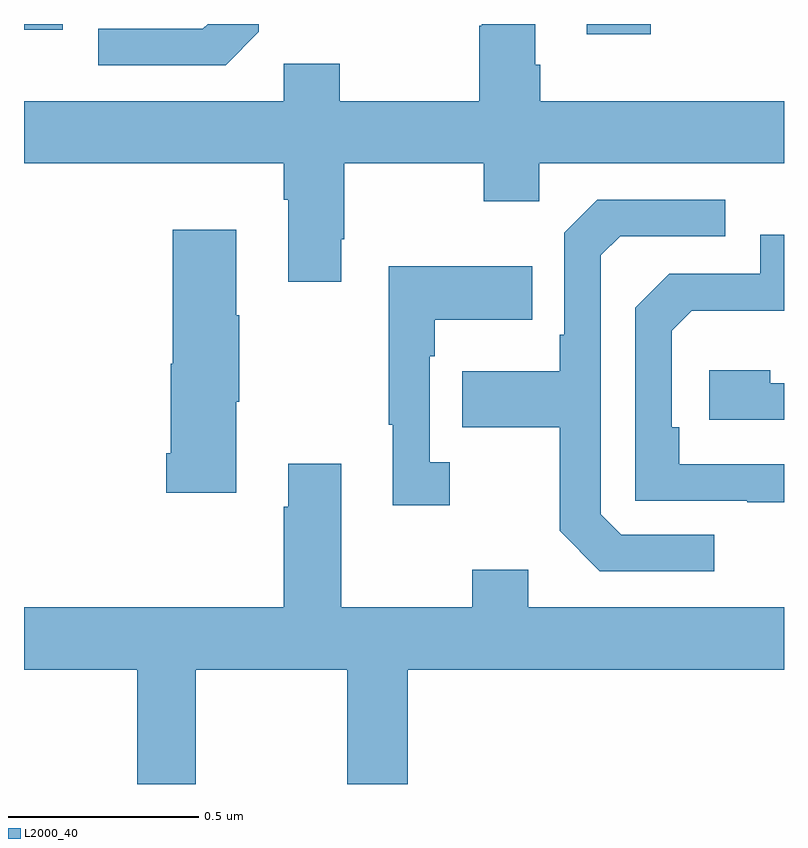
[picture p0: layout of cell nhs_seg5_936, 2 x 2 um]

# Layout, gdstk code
import gdstk
lib = gdstk.Library(unit=1e-6, precision=1e-09)
def R(c, l, rs):  # rectangles x0, y0, x1, y1
    for r in rs: c.add(gdstk.rectangle(r[:2], r[2:], *l))
def P(c, l, *ps):  # polygons
    for p in ps: c.add(gdstk.Polygon(p, *l))
L2000_40 = (2000, 40)

nhs_seg5_936 = lib.new_cell('nhs_seg5_936')
R(nhs_seg5_936, L2000_40, [(124.481,851.772,124.649,851.799), (123,851.784,123.102,851.799)])
P(nhs_seg5_936, L2000_40, [(123.835,851.233),(123.843,851.233),(123.843,851.432),(124.21,851.432),(124.21,851.333),(124.356,851.333),(124.356,851.432),(125,851.432),(125,851.596),(124.358,851.596),(124.358,851.692),(124.345,851.692),(124.345,851.799),(124.205,851.799),(124.205,851.795),(124.198,851.795),(124.198,851.596),(123.831,851.596),(123.831,851.695),(123.684,851.695),(123.684,851.596),(123,851.596),(123,851.432),(123.683,851.432),(123.683,851.336),(123.695,851.336),(123.695,851.121),(123.835,851.121)],
  [(123.618,851.778),(123.618,851.799),(123.483,851.799),(123.471,851.787),(123.195,851.787),(123.195,851.691),(123.531,851.691)],
  [(124.816,850.455),(124.572,850.455),(124.518,850.509),(124.518,851.19),(124.569,851.241),(124.846,851.241),(124.846,851.337),(124.509,851.337),(124.422,851.25),(124.422,850.981),(124.41,850.981),(124.41,850.885),(124.153,850.885),(124.153,850.738),(124.41,850.738),(124.41,850.465),(124.515,850.359),(124.816,850.359)],
  [(123.559,850.805),(123.567,850.805),(123.567,851.033),(123.559,851.033),(123.559,851.257),(123.392,851.257),(123.392,850.905),(123.386,850.905),(123.386,850.669),(123.374,850.669),(123.374,850.565),(123.559,850.565)],
  [(125,850.641),(124.724,850.641),(124.724,850.738),(124.704,850.738),(124.704,850.992),(124.757,851.045),(125,851.045),(125,851.244),(124.938,851.244),(124.938,851.142),(124.698,851.142),(124.608,851.052),(124.608,850.545),(124.903,850.545),(124.903,850.54),(125,850.54)],
  [(124.12,850.646),(124.068,850.646),(124.068,850.925),(124.081,850.925),(124.081,851.021),(124.337,851.021),(124.337,851.161),(123.96,851.161),(123.96,850.745),(123.971,850.745),(123.971,850.533),(124.12,850.533)],
  [(125,850.854),(124.964,850.854),(124.964,850.888),(124.803,850.888),(124.803,850.758),(125,850.758)],
  [(123.452,850.1),(123.85,850.1),(123.85,849.799),(124.01,849.799),(124.01,850.1),(125,850.1),(125,850.264),(124.327,850.264),(124.327,850.363),(124.18,850.363),(124.18,850.264),(123.835,850.264),(123.835,850.642),(123.695,850.642),(123.695,850.529),(123.683,850.529),(123.683,850.264),(123,850.264),(123,850.1),(123.298,850.1),(123.298,849.799),(123.452,849.799)])

lib.write_gds('nhs_seg5_936.gds')
